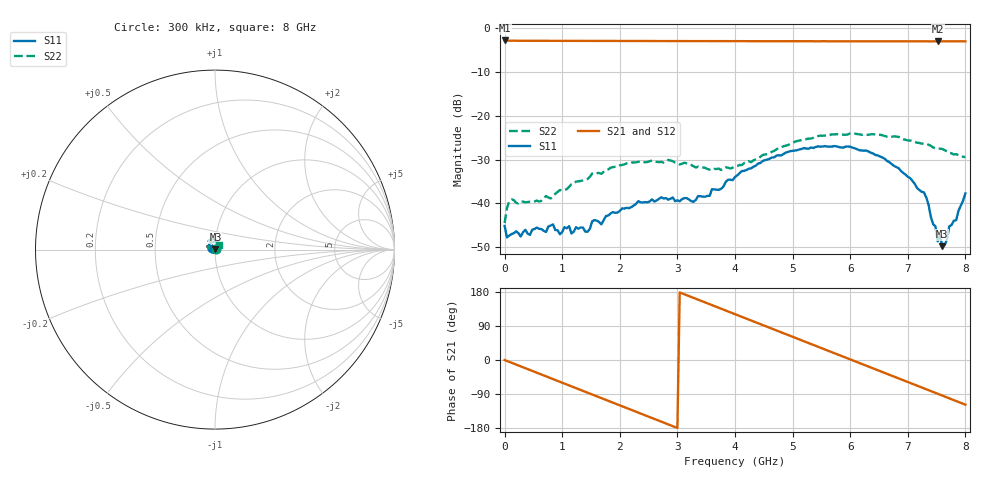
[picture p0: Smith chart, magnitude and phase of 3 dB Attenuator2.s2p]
#  HZ  S  DB  R  50.00
! Rohde & Schwarz Vector Network Analyzer
! Rohde-Schwarz,ZNB8-4Port,1311601044101761,1.95
! Created: UTC 2/19/2014, 8:12:13 PM
! freq[Hz]  db:S11  ang:S11  db:S21  ang:S21  db:S12  ang:S12  db:S22  ang:S22
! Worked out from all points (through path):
!   201 points, 300 kHz to 8 GHz, reference 50 ohm
!   highest |S21| = -2.75 dB at 300 kHz (marker M1); lowest = -3.0 dB at 7.52 GHz (marker M2)
!   group delay of S21, straight-line fit = 166 ps
!   lowest |S11| = -49.8 dB at 7.6 GHz (marker M3), VSWR 1.01, Z = 50.3 + j0.189 ohm
!   |S11| at or under -10 dB: start of sweep to end of sweep
!   |S22| runs from -44.5 to -24.0 dB; largest |S21 - S12| = 0.0023
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300000  -45.16 41.2  -2.75 -0.2  -2.76 -0.2  -44.49 27.5
4.02985e7  -47.79 -25.2  -2.79 -2.4  -2.79 -2.4  -41.11 2.8
1.202955e8  -47.02 -8.5  -2.81 -7.2  -2.81 -7.2  -39.11 -9.2
6.002775e8  -45.82 -49.7  -2.83 -36.0  -2.83 -36.0  -39.59 -74.6
1.360249e9  -45.53 -155.5  -2.84 -81.4  -2.84 -81.5  -34.77 -135.2
1.440246e9  -46.49 -175.0  -2.86 -86.2  -2.85 -86.3  -34.43 -139.0
1.520243e9  -44.11 170.4  -2.86 -91.0  -2.85 -91.0  -33.18 -143.5
1.680237e9  -44.79 147.6  -2.86 -100.6  -2.86 -100.6  -33.26 -149.0
1.960226e9  -42.10 110.7  -2.86 -117.2  -2.86 -117.3  -31.55 -158.8
2.6802e9  -38.95 28.9  -2.88 -160.2  -2.89 -160.3  -30.57 -179.5
3.320176e9  -39.21 -50.3  -2.90 161.6  -2.90 161.6  -31.80 165.1
4.00015e9  -33.96 -123.5  -2.91 121.0  -2.91 121.0  -31.56 166.1
4.640126e9  -29.52 -174.1  -2.92 82.7  -2.91 82.7  -28.22 159.3
5.360099e9  -27.33 136.8  -2.94 39.8  -2.94 39.8  -25.02 132.8
6.000075e9  -27.04 94.8  -2.94 1.6  -2.94 1.6  -24.02 110.3
6.68005e9  -30.57 51.1  -2.95 -39.0  -2.95 -39.0  -24.65 93.2
7.280027e9  -37.49 27.1  -2.95 -74.8  -2.95 -74.8  -26.29 71.5
7.48002e9  -45.25 27.2  -2.95 -86.8  -2.95 -86.8  -27.38 67.9
7.520018e9  -48.69 47.4  -2.97 -89.1  -2.96 -89.1  -27.50 66.0
7.560016e9  -47.46 38.2  -2.94 -91.4  -2.96 -91.5  -27.49 63.4
7.600015e9  -49.79 35.4  -2.95 -93.8  -2.95 -93.9  -27.57 62.7
8e9  -37.72 142.4  -2.96 -117.9  -2.96 -117.8  -29.42 54.2
